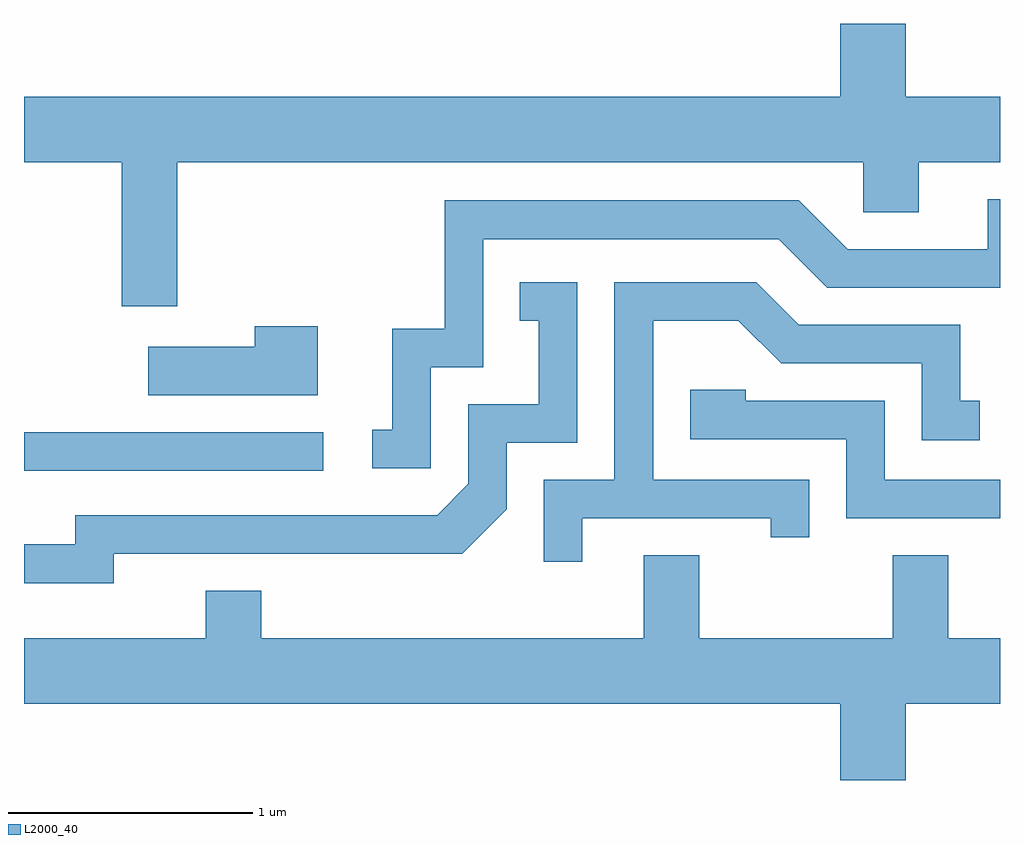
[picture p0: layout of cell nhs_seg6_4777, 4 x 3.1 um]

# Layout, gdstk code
import gdstk
lib = gdstk.Library(unit=1e-6, precision=1e-09)
def R(c, l, rs):  # rectangles x0, y0, x1, y1
    for r in rs: c.add(gdstk.rectangle(r[:2], r[2:], *l))
def P(c, l, *ps):  # polygons
    for p in ps: c.add(gdstk.Polygon(p, *l))
L2000_40 = (2000, 40)

nhs_seg6_4777 = lib.new_cell('nhs_seg6_4777')
R(nhs_seg6_4777, L2000_40, [(331.611,1555.431,332.838,1555.589)])
P(nhs_seg6_4777, L2000_40, [(332.239,1556.696),(335.051,1556.696),(335.051,1556.491),(335.279,1556.491),(335.279,1556.696),(335.611,1556.696),(335.611,1556.964),(335.224,1556.964),(335.224,1557.264),(334.956,1557.264),(334.956,1556.964),(331.611,1556.964),(331.611,1556.696),(332.011,1556.696),(332.011,1556.106),(332.239,1556.106)],
  [(333.279,1555.856),(333.494,1555.856),(333.494,1556.381),(334.704,1556.381),(334.904,1556.181),(335.611,1556.181),(335.611,1556.544),(335.561,1556.544),(335.561,1556.339),(334.987,1556.339),(334.787,1556.539),(333.336,1556.539),(333.336,1556.014),(333.121,1556.014),(333.121,1555.599),(333.038,1555.599),(333.038,1555.441),(333.279,1555.441)],
  [(333.899,1555.236),(334.671,1555.236),(334.671,1555.158),(334.829,1555.158),(334.829,1555.394),(334.189,1555.394),(334.189,1556.046),(334.539,1556.046),(334.714,1555.871),(335.291,1555.871),(335.291,1555.556),(335.528,1555.556),(335.528,1555.719),(335.449,1555.719),(335.449,1556.029),(334.787,1556.029),(334.612,1556.204),(334.031,1556.204),(334.031,1555.394),(333.741,1555.394),(333.741,1555.058),(333.899,1555.058)],
  [(331.979,1555.091),(333.407,1555.091),(333.589,1555.274),(333.589,1555.546),(333.879,1555.546),(333.879,1556.204),(333.643,1556.204),(333.643,1556.046),(333.721,1556.046),(333.721,1555.704),(333.431,1555.704),(333.431,1555.377),(333.304,1555.249),(331.821,1555.249),(331.821,1555.129),(331.611,1555.129),(331.611,1554.971),(331.979,1554.971)],
  [(332.814,1556.024),(332.556,1556.024),(332.556,1555.939),(332.121,1555.939),(332.121,1555.741),(332.814,1555.741)],
  [(335.611,1555.394),(335.139,1555.394),(335.139,1555.719),(334.569,1555.719),(334.569,1555.764),(334.341,1555.764),(334.341,1555.561),(334.981,1555.561),(334.981,1555.236),(335.611,1555.236)],
  [(334.956,1554.162),(335.224,1554.162),(335.224,1554.476),(335.611,1554.476),(335.611,1554.744),(335.399,1554.744),(335.399,1555.084),(335.171,1555.084),(335.171,1554.744),(334.379,1554.744),(334.379,1555.084),(334.151,1555.084),(334.151,1554.744),(332.584,1554.744),(332.584,1554.939),(332.356,1554.939),(332.356,1554.744),(331.611,1554.744),(331.611,1554.476),(334.956,1554.476)])

lib.write_gds('nhs_seg6_4777.gds')
